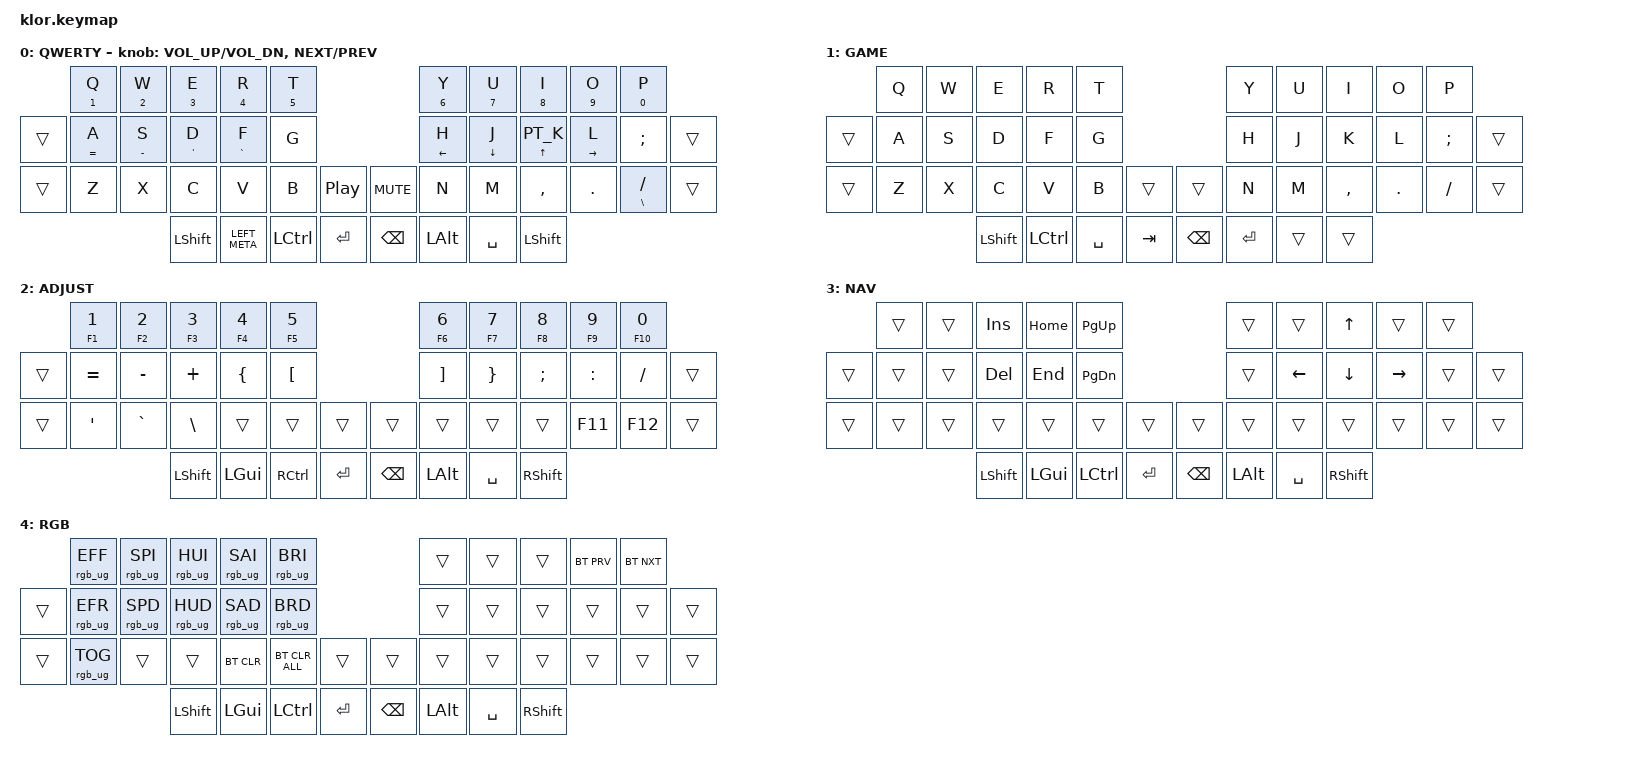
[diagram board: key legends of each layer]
//                               █         █    █            ▄▄▄▀▀▀▀▀▀▄▄▄        █▀▀▀▀▀▀▀▀▀▀█
//                               █        █     █          ▄▀            ▀▄      █          █
//                               █       █      █        ▄▀                ▀▄    █          █
//                               █      █       █        █                  █    █          █
//                               █     █        █       █                    █   █          █
//                               █    █         █       █                    █   █▄▄▄▄▄▄▄▄▄▄█
//                               █   █ █        █       █                    █   █      █
//                               █  █   █       █        █                  █    █       █
//                               █ █     █      █        ▀▄                ▄▀    █        █
//                               ██       █     █          ▀▄            ▄▀      █         █
//                               █         █    █▄▄▄▄▄▄▄▄    ▀▀▀▄▄▄▄▄▄▀▀▀        █          █
//
// ▄▄▄▄▄▄▄▄▄▄▄▄▄▄▄▄▄▄▄▄▄▄▄▄▄▄▄▄▄▄▄▄▄▄▄▄▄▄▄▄▄▄▄▄▄▄▄▄▄▄▄▄▄▄▄▄▄▄▄▄▄▄▄▄▄▄▄▄▄▄▄▄▄▄▄▄▄▄▄▄▄▄▄▄▄▄▄▄▄▄▄▄▄▄▄▄▄▄▄▄▄▄▄▄▄▄▄▄▄▄▄▄▄▄▄▄▄▄▄▄▄▄▄▄▄

#include "keys_pt_abnt2.h"
#include <behaviors.dtsi>
#include <dt-bindings/zmk/bt.h>
#include <dt-bindings/zmk/keys.h>
#include <dt-bindings/zmk/rgb.h>

#define ENGRAM   0
#define NAV      1
#define PROD     2
#define QWERTY   3

/ {
    behaviors {
        hm: homerow_mods {
            compatible = "zmk,behavior-hold-tap";
            label = "HOMEROW_MODS";
            #binding-cells = <2>;
            tapping-term-ms = <150>;
            quick_tap_ms = <0>;
            flavor = "tap-preferred";
            bindings = <&kp>, <&kp>;
        };

        cecedilha: cecedilha {
            compatible = "zmk,behavior-mod-morph";
            label = "CECEDILHA";
            bindings = <&kp C>, <&kp PT_C_CEDILLA>;

            #binding-cells = <0>;
            mods = <(MOD_LALT|MOD_RALT)>;
        };

        question_exclamation: question_exclamation {
            compatible = "zmk,behavior-mod-morph";
            label = "QUESTION_EXCLAMATION";
            bindings = <&kp QUESTION>, <&kp EXCLAMATION>;

            #binding-cells = <0>;
            mods = <(MOD_LSFT|MOD_RSFT)>;
        };

        dot_colon: dot_colon {
            compatible = "zmk,behavior-mod-morph";
            label = "DOT_COLON";
            bindings = <&kp PT_DOT>, <&kp PT_COLON>;

            #binding-cells = <0>;
            mods = <(MOD_LSFT|MOD_RSFT)>;
        };

        o_masculine_ordinal: o_masculine_ordinal {
            compatible = "zmk,behavior-mod-morph";
            label = "O_MASCULINE_ORDINAL";
            bindings = <&kp O>, <&kp PT_MASCULINE_ORDINAL_INDICATOR>;

            #binding-cells = <0>;
            mods = <(MOD_LALT|MOD_RALT)>;
        };

        control_S_dollar: control_S_dollar {
            compatible = "zmk,behavior-mod-morph";
            label = "CONTROL_S_DOLLAR";
            bindings = <&mt RIGHT_CONTROL S>, <&kp DOLLAR>;

            #binding-cells = <0>;
            mods = <(MOD_LALT|MOD_RALT)>;
        };

        command_H_hash: command_H_hash {
            compatible = "zmk,behavior-mod-morph";
            label = "COMMAND_H_HASH";
            bindings = <&mt RIGHT_COMMAND A>, <&kp HASH>;

            #binding-cells = <0>;
            mods = <(MOD_LALT|MOD_RALT)>;
        };

        control_A_feminine_ordinal: control_A_feminine_ordinal {
            compatible = "zmk,behavior-mod-morph";
            label = "CONTROL_A_FEMININE_ORDINAL";
            bindings =
                <&mt LEFT_CONTROL A>,
                <&kp PT_FEMININE_ORDINAL_INDICATOR>;

            #binding-cells = <0>;
            mods = <(MOD_LALT|MOD_RALT)>;
        };

        apost_slash: apost_slash {
            compatible = "zmk,behavior-mod-morph";
            label = "APOST_SLASH";
            bindings = <&kp APOS>, <&kp KP_SLASH>;

            #binding-cells = <0>;
            mods = <(MOD_LALT|MOD_RALT)>;
        };

        backspace_delete: backspace_delete {
            compatible = "zmk,behavior-mod-morph";
            label = "BACKSPACE_DELETE";
            bindings = <&kp BACKSPACE>, <&kp DELETE>;

            #binding-cells = <0>;
            mods = <(MOD_LCTL|MOD_RCTL)>;
        };

        hold_sticky: hold_sticky {
            compatible = "zmk,behavior-hold-tap";
            label = "HOLD_STICKY";
            bindings = <&kp>, <&sk>;

            #binding-cells = <2>;
            tapping-term-ms = <200>;
            flavor = "balanced";
        };

        super_shift: super_shift {
            compatible = "zmk,behavior-mod-morph";
            label = "SUPER_SHIFT";
            bindings = <&hold_sticky LEFT_SHIFT LEFT_SHIFT>, <&caps_word>;

            #binding-cells = <0>;
            mods = <(MOD_LSFT|MOD_RSFT)>;
        };

        control_H_hash: control_H_hash {
            compatible = "zmk,behavior-mod-morph";
            label = "CONTROL_H_HASH";
            bindings = <&hm RIGHT_CONTROL H>, <&kp HASH>;

            #binding-cells = <0>;
            mods = <(MOD_LALT|MOD_RALT)>;
        };

        alt_S_dollar: alt_S_dollar {
            compatible = "zmk,behavior-mod-morph";
            label = "ALT_S_DOLLAR";
            bindings = <&hm RIGHT_ALT S>, <&kp DOLLAR>;

            #binding-cells = <0>;
            mods = <(MOD_LALT|MOD_RALT)>;
        };

        comma_slash: comma_slash {
            compatible = "zmk,behavior-mod-morph";
            label = "COMMA_SLASH";
            bindings = <&kp PT_COMMA>, <&kp KP_SLASH>;

            #binding-cells = <0>;
            mods = <(MOD_LSFT|MOD_RSFT)>;
        };

        X_percentage: X_percentage {
            compatible = "zmk,behavior-mod-morph";
            label = "X_PERCENTAGE";
            bindings = <&kp X>, <&kp PERCENT>;

            #binding-cells = <0>;
            mods = <(MOD_LALT|MOD_RALT)>;
        };

        B_Ampersand: B_Ampersand {
            compatible = "zmk,behavior-mod-morph";
            label = "B_AMPERSAND";
            bindings = <&kp B>, <&kp AMPERSAND>;

            #binding-cells = <0>;
            mods = <(MOD_LALT|MOD_RALT)>;
        };

        alt_i_pipe: alt_i_pipe {
            compatible = "zmk,behavior-mod-morph";
            label = "ALT_I_PIPE";
            bindings = <&hm LEFT_ALT I>, <&kp PIPE>;

            #binding-cells = <0>;
            mods = <(MOD_LALT|MOD_RALT)>;
        };

        U_underscore: U_underscore {
            compatible = "zmk,behavior-mod-morph";
            label = "U_UNDERSCORE";
            bindings = <&kp U>, <&kp UNDERSCORE>;

            #binding-cells = <0>;
            mods = <(MOD_LALT|MOD_RALT)>;
        };

        comma_slash_backslash: comma_slash_backslash {
            compatible = "zmk,behavior-mod-morph";
            label = "COMMA_SLASH_BACKSLASH";
            bindings = <&comma_slash>, <&kp PT_BACKSLASH>;

            #binding-cells = <0>;
            mods = <(MOD_LALT|MOD_RALT)>;
        };

        open_parentesis_less: open_parentesis_less {
            compatible = "zmk,behavior-mod-morph";
            label = "OPEN_PARENTESIS_LESS";
            bindings = <&kp LEFT_PARENTHESIS>, <&kp LESS_THAN>;

            #binding-cells = <0>;
            mods = <(MOD_LSFT|MOD_RSFT)>;
        };

        close_parentesis_greater: close_parentesis_greater {
            compatible = "zmk,behavior-mod-morph";
            label = "CLOSE_PARENTESIS_GREATER";
            bindings = <&kp RIGHT_PARENTHESIS>, <&kp GREATER_THAN>;

            #binding-cells = <0>;
            mods = <(MOD_LSFT|MOD_RSFT)>;
        };

        command_T_shift_same: command_T_shift_same {
            compatible = "zmk,behavior-mod-morph";
            label = "COMMAND_T_SHIFT_SAME";
            bindings = <&kp LG(T)>, <&kp LS(LG(T))>;

            #binding-cells = <0>;
            mods = <(MOD_LSFT|MOD_RSFT)>;
        };

        command_R_shift_same: command_R_shift_same {
            compatible = "zmk,behavior-mod-morph";
            label = "COMMAND_R_SHIFT_SAME";
            bindings = <&kp LG(R)>, <&kp LS(LG(R))>;

            #binding-cells = <0>;
            mods = <(MOD_LSFT|MOD_RSFT)>;
        };

        accents_C_Cedilha: accents_C_Cedilha {
            compatible = "zmk,behavior-hold-tap";
            label = "ACCENTS_C_CEDILHA";
            bindings = <&mo>, <&cecedilha>;

            #binding-cells = <2>;
            tapping-term-ms = <150>;
            flavor = "tap-preferred";
        };
    };

    combos {
        compatible = "zmk,combos";

        esc_one_handed {
            bindings = <&kp ESC>;
            key-positions = <0 1>;
            require-prior-idle-ms = <150>;
        };

        to_qwerty {
            bindings = <&to 0>;
            key-positions = <37 5>;
        };

        to_game {
            bindings = <&to 1>;
            key-positions = <37 6>;
        };

        to_adjust {
            bindings = <&to 2>;
            key-positions = <37 7>;
        };

        to_nav {
            bindings = <&to 3>;
            key-positions = <37 8>;
        };

        to_rgb {
            bindings = <&to 4>;
            key-positions = <37 9>;
        };

        change_keyboard {
            bindings = <&kp LC(LA(PT_K))>;
            key-positions = <36 37 38>;
        };

        tab_one_hand {
            bindings = <&kp TAB>;
            key-positions = <11 12>;
            require-prior-idle-ms = <150>;
            layers = <0>;
        };

        curly_braces {
            bindings = <&kp LBRC>;
            key-positions = <16 36>;
            layers = <0>;
        };

        parenthesis {
            bindings = <&kp LPAR>;
            key-positions = <17 36>;
            layers = <0>;
        };

        brackets {
            bindings = <&kp LBKT>;
            key-positions = <36 18>;
            layers = <0>;
        };

    };

    keymap {
        compatible = "zmk,keymap";

        // ▄▄▄▄▄▄▄▄▄▄▄▄▄▄▄▄▄▄▄▄▄▄▄▄▄▄▄▄▄▄▄▄▄▄▄▄▄▄▄▄▄▄▄▄▄▄▄▄▄▄▄▄▄▄▄▄▄▄▄▄▄▄▄▄▄▄▄▄▄▄▄▄▄▄▄▄▄▄▄▄▄▄▄▄▄▄▄▄▄▄▄▄▄▄▄▄▄▄▄▄▄▄▄▄▄▄▄▄▄▄▄▄▄▄▄▄▄▄▄▄▄▄▄▄▄▄▄▄▄▄▄▄▄▄▄▄▄▄▄▄▄▄
        // ▄▄▄▄▄▄▄▄▄▄▄▄▄▄▄▄▄▄▄▄▄▄▄▄▄▄▄▄▄▄▄▄▄▄▄▄▄▄▄▄▄▄▄▄▄▄▄▄▄▄▄▄▄▄▄▄▄▄▄▄▄▄▄▄▄▄▄▄▄▄▄▄▄▄▄▄▄▄▄▄▄▄▄▄▄▄▄▄▄▄▄▄▄▄▄▄▄▄▄▄▄▄▄▄▄▄▄▄▄▄▄▄▄▄▄▄▄▄▄▄▄▄▄▄▄▄▄▄▄▄▄▄▄▄▄▄▄▄▄▄▄▄
        // ▄▄▄▄▄▄▄▄▄▄▄▄▄▄▄▄▄▄▄▄▄▄▄▄▄▄▄▄▄▄▄▄▄▄▄▄▄▄▄▄▄▄▄▄▄▄▄▄▄▄▄▄▄▄▄▄▄▄▄▄▄▄▄▄▄▄▄▄▄▄▄▄▄▄▄▄▄▄▄▄▄▄▄▄▄▄▄▄▄▄▄▄▄▄▄▄▄▄▄▄▄▄▄▄▄▄▄▄▄▄▄▄▄▄▄▄▄▄▄▄▄▄▄▄▄
        // ▄▄▄▄▄▄▄▄▄▄▄▄▄▄▄▄▄▄▄▄▄▄▄▄▄▄▄▄▄▄▄▄▄▄▄▄▄▄▄▄▄▄▄▄▄▄▄▄▄▄▄▄▄▄▄▄▄▄▄▄▄▄▄▄▄▄▄▄▄▄▄▄▄▄▄▄▄▄▄▄▄▄▄▄▄▄▄▄▄▄▄▄▄▄▄▄▄▄▄▄▄▄▄▄▄▄▄▄▄▄▄▄▄▄▄▄▄▄▄▄▄▄▄▄▄

        QWERTY {
            bindings = <
        &hm N1 Q     &hm N2 W     &hm N3 E    &hm N4 R       &hm N5 T                                    &hm N6 Y      &hm N7 U    &hm N8 I        &hm N9 O     &hm N0 P
&trans  &hm EQUAL A  &hm MINUS S  &hm APOS D  &hm GRAVE F    &kp G                                       &hm LEFT H    &hm DOWN J  &hm UP PT_K     &hm RIGHT L  &kp SEMI       &trans
&trans  &kp Z        &kp X        &kp C       &kp V          &kp B      &kp C_PLAY_PAUSE  &kp C_MUTE     &kp N         &kp M       &kp COMMA       &kp DOT      &hm BSLH FSLH  &trans
                                  &kp LSHFT   &kp LEFT_META  &kp LCTRL  &kp RET           &kp BACKSPACE  &kp LEFT_ALT  &kp SPACE   &kp LEFT_SHIFT
            >;

            sensor-bindings = <&inc_dec_kp C_VOL_UP C_VOL_DN &inc_dec_kp C_NEXT C_PREV>;
            label = "QWERTY";
        };

        GAME {
            bindings = <
        &kp Q  &kp W  &kp E      &kp R             &kp T                              &kp Y      &kp U   &kp I      &kp O    &kp P
&trans  &kp A  &kp S  &kp D      &kp F             &kp G                              &kp H      &kp J   &kp K      &kp L    &kp SEMI  &trans
&trans  &kp Z  &kp X  &kp C      &kp V             &kp B      &trans   &trans         &kp N      &kp M   &kp COMMA  &kp DOT  &kp FSLH  &trans
                      &kp LSHFT  &kp LEFT_CONTROL  &kp SPACE  &kp TAB  &kp BACKSPACE  &kp ENTER  &trans  &trans
            >;

            label = "GAME";
        };

        ADJUST {
            bindings = <
        &hm F1 N1  &hm F2 N2  &hm F3 N3       &hm F4 NUMBER_4  &hm F5 NUMBER_5                          &hm F6 N6     &hm F7 N7  &hm F8 N8        &hm F9 N9  &hm F10 N0
&trans  &kp EQUAL  &kp MINUS  &kp PLUS        &kp LBRC         &kp LBKT                                 &kp RBKT      &kp RBRC   &kp SEMI         &kp COLON  &kp FSLH    &trans
&trans  &kp APOS   &kp GRAVE  &kp BSLH        &trans           &trans           &trans   &trans         &trans        &trans     &trans           &kp F11    &kp F12     &trans
                              &kp LEFT_SHIFT  &kp LEFT_GUI     &kp RCTRL        &kp RET  &kp BACKSPACE  &kp LEFT_ALT  &kp SPACE  &kp RIGHT_SHIFT
            >;

            label = "ADJUST";
        };

        NAV {
            bindings = <
        &trans  &trans  &kp INS         &kp HOME      &kp PG_UP                          &trans        &trans          &kp UP           &trans     &trans
&trans  &trans  &trans  &kp DELETE      &kp END       &kp PG_DN                          &trans        &kp LEFT_ARROW  &kp DOWN         &kp RIGHT  &trans  &trans
&trans  &trans  &trans  &trans          &trans        &trans     &trans   &trans         &trans        &trans          &trans           &trans     &trans  &trans
                        &kp LEFT_SHIFT  &kp LEFT_GUI  &kp LCTRL  &kp RET  &kp BACKSPACE  &kp LEFT_ALT  &kp SPACE       &kp RIGHT_SHIFT
            >;

            label = "NAV";
        };

        RGB {
            label = "RGB";
            bindings = <
        &rgb_ug RGB_EFF  &rgb_ug RGB_SPI  &rgb_ug RGB_HUI  &rgb_ug RGB_SAI  &rgb_ug RGB_BRI                          &trans        &trans     &trans           &bt BT_PRV  &bt BT_NXT
&trans  &rgb_ug RGB_EFR  &rgb_ug RGB_SPD  &rgb_ug RGB_HUD  &rgb_ug RGB_SAD  &rgb_ug RGB_BRD                          &trans        &trans     &trans           &trans      &trans      &trans
&trans  &rgb_ug RGB_TOG  &trans           &trans           &bt BT_CLR       &bt BT_CLR_ALL   &trans   &trans         &trans        &trans     &trans           &trans      &trans      &trans
                                          &kp LEFT_SHIFT   &kp LEFT_GUI     &kp LCTRL        &kp RET  &kp BACKSPACE  &kp LEFT_ALT  &kp SPACE  &kp RIGHT_SHIFT
            >;
        };
    };
};
